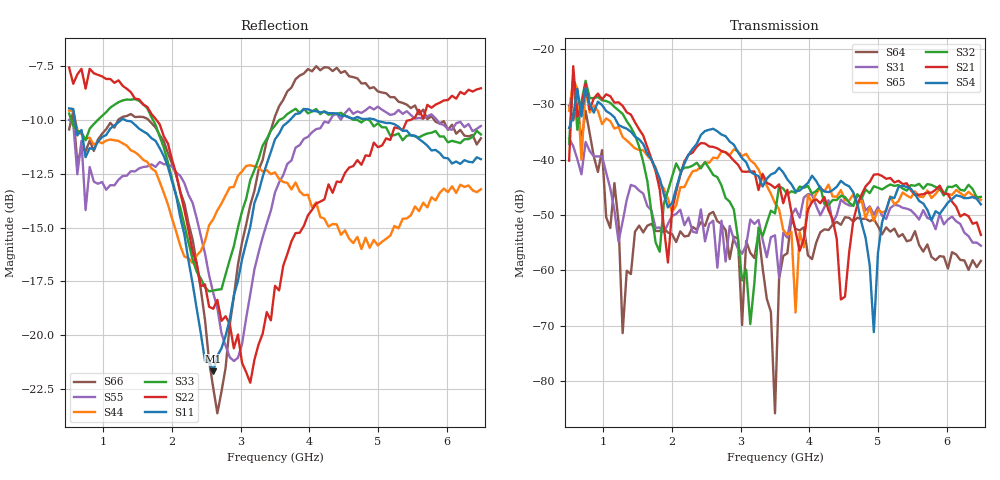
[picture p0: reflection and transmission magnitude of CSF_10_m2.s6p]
!Keysight Technologies,M9804A,MY58100912,A.14.10.03
!Date: Thursday, April 27, 2023 10:28:33
!Correction: S11(C  6-Port  )
!S12(C  6-Port  )
!S13(C  6-Port  )
!S14(C  6-Port  )
!S15(C  6-Port  )
!S16(C  6-Port  )
!S21(C  6-Port  )
!S22(C  6-Port  )
!S23(C  6-Port  )
!S24(C  6-Port  )
!S25(C  6-Port  )
!S26(C  6-Port  )
!S31(C  6-Port  )
!S32(C  6-Port  )
!S33(C  6-Port  )
!S34(C  6-Port  )
!S35(C  6-Port  )
!S36(C  6-Port  )
!S41(C  6-Port  )
!S42(C  6-Port  )
!S43(C  6-Port  )
!S44(C  6-Port  )
!S45(C  6-Port  )
!S46(C  6-Port  )
!S51(C  6-Port  )
!S52(C  6-Port  )
!S53(C  6-Port  )
!S54(C  6-Port  )
!S55(C  6-Port  )
!S56(C  6-Port  )
!S61(C  6-Port  )
!S62(C  6-Port  )
!S63(C  6-Port  )
!S64(C  6-Port  )
!S65(C  6-Port  )
!S66(C  6-Port  )
!S6P File: Measurement: :
# Hz S  RI  R 50
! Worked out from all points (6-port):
!   101 points, 500 MHz to 6.5 GHz, reference 50 ohm
!   strongest paths, dB at 500 MHz, 2 GHz, 3.5 GHz, 5 GHz, 6.5 GHz:
!     S54: -34.3, -47.9, -42.4, -56.9, -48.1
!     S21: -40.2, -49.2, -45.1, -42.6, -53.6
!     S32: -37.1, -43.1, -49.7, -45.1, -46.7
!     S65: -31.2, -49.5, -47.9, -49.0, -47.3
!     S31: -36.1, -50.2, -53.7, -48.6, -55.6
!     S64: -30.3, -53.5, -85.9, -52.0, -58.3
!   lowest |S11| = -21.7 dB at 2.6 GHz (marker M1), VSWR 1.18, Z = 42.6 + j2.05 ohm
!   |S11| at or under -10 dB: 585.2 MHz to 1.258 GHz (672.3 MHz wide, 73 % of centre); 1.319 GHz to 3.716 GHz (2.397 GHz wide, 95.2 % of centre); 4.969 GHz to end of sweep
